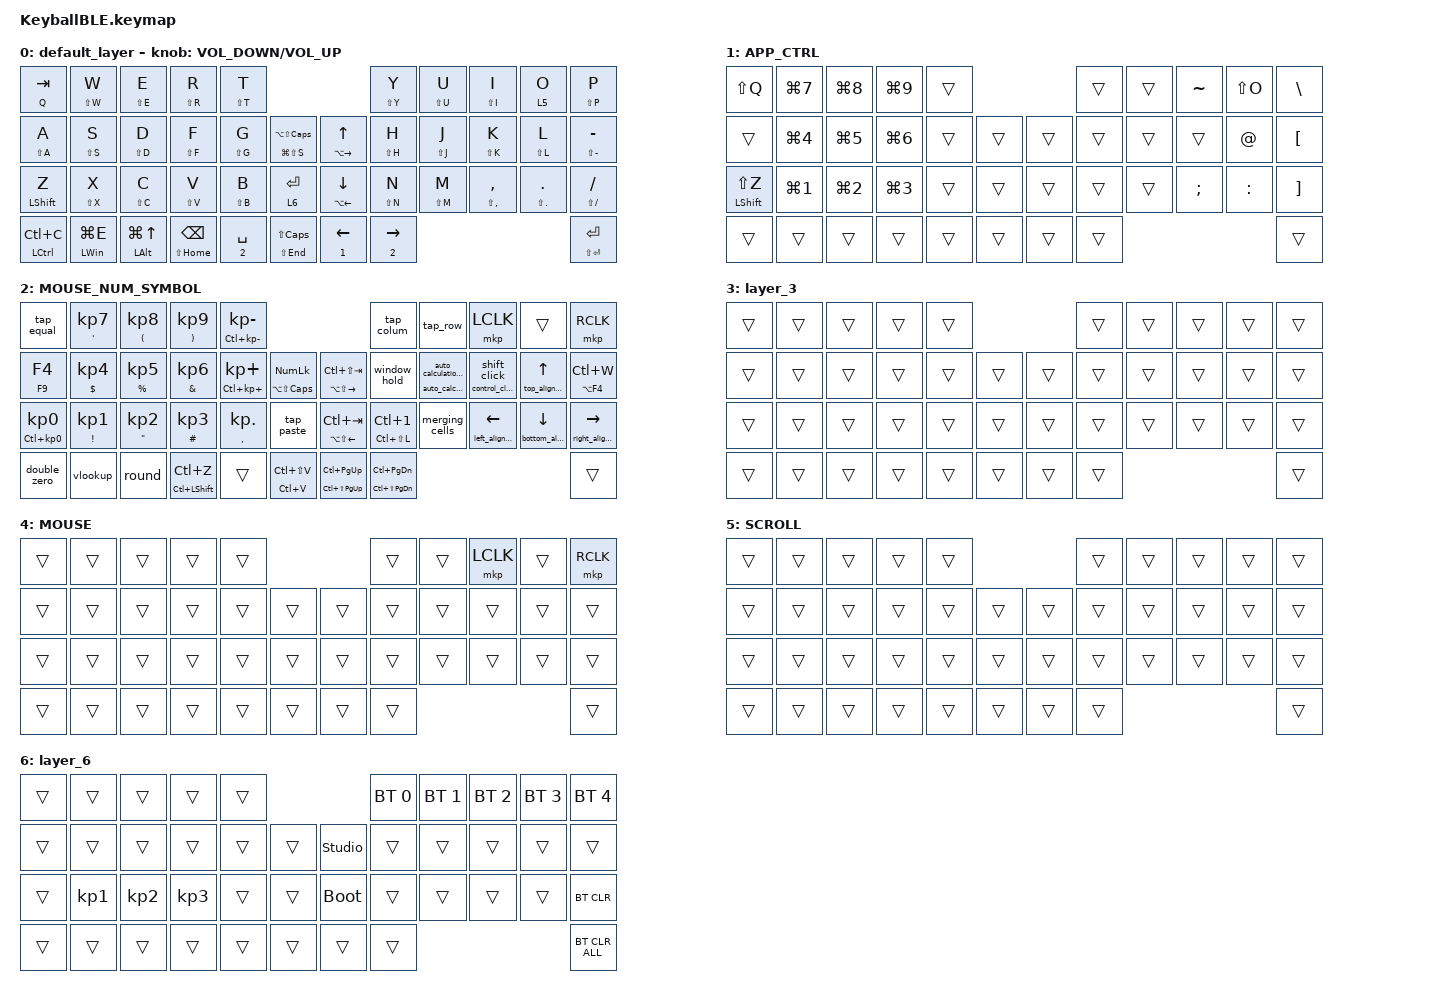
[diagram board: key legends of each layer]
#define ZMK_POINTING_DEFAULT_SCRL_VAL 120    // default: 10

#include <behaviors.dtsi>
#include <dt-bindings/zmk/bt.h>
#include <dt-bindings/zmk/keys.h>
#include <dt-bindings/zmk/pointing.h>

#define MOUSE 4
#define SCROLL 5
#define NUM 6

&mt {
    flavor = "balanced";
    quick-tap-ms = <0>;
};

/ {
    combos {
        compatible = "zmk,combos";

        backspace {
            bindings = <&mt_exit_AML_on_hold DELETE BACKSPACE>;
            key-positions = <8 9>;
            layers = <0 2 1>;
        };

        language {
            bindings = <&mt ESCAPE LS(CAPSLOCK)>;
            key-positions = <0 1>;
            layers = <0 2 1>;
        };

        f2 {
            bindings = <&kp F2>;
            key-positions = <1 2>;
            layers = <0>;
        };

        f7_f12 {
            bindings = <&mt F12 F7>;
            key-positions = <8 7>;
            layers = <0>;
        };

        center_alignment {
            bindings = <&center_alignment>;
            key-positions = <31 33>;
            layers = <2>;
        };

        vertical_alignment {
            bindings = <&vertical_center_alignment>;
            key-positions = <20 32>;
            layers = <2>;
        };

        num_slash {
            bindings = <&kp KP_SLASH>;
            key-positions = <1 2>;
            layers = <2>;
        };

        num_asterisk {
            bindings = <&kp KP_ASTERISK>;
            key-positions = <3 4>;
            layers = <2>;
        };

        num_remove {
            bindings = <&remove_duplicates>;
            key-positions = <2 3>;
            layers = <2>;
        };
    };

    macros {
        to_layer_0: to_layer_0 {
            compatible = "zmk,behavior-macro-one-param";
            #binding-cells = <1>;
            bindings = <&to 0 &macro_param_1to1 &kp MACRO_PLACEHOLDER>;
            label = "TO_LAYER_0";
        };

        exit_AML: exit_AML {
            compatible = "zmk,behavior-macro";
            wait-ms = <0>;
            tap-ms = <0>;
            #binding-cells = <0>;
            bindings = <&tog_off MOUSE>;
            label = "exit_AML";
        };

        kp_exit_AML: kp_exit_AML {
            compatible = "zmk,behavior-macro-one-param";
            wait-ms = <0>;
            tap-ms = <0>;
            #binding-cells = <1>;
            bindings = <&macro_param_1to1 &kp MACRO_PLACEHOLDER &exit_AML>;
            label = "KP_exit_AML";
        };

        mod_exit_AML: mod_exit_AML {
            compatible = "zmk,behavior-macro-one-param";
            wait-ms = <0>;
            tap-ms = <0>;
            #binding-cells = <1>;
            bindings =
                <&macro_press>,
                <&macro_param_1to1 &kp MACRO_PLACEHOLDER>,
                <&macro_tap>,
                <&exit_AML>,
                <&macro_pause_for_release>,
                <&macro_release>,
                <&macro_param_1to1 &kp MACRO_PLACEHOLDER>;

            label = "MOD_exit_AML";
        };

        mo_exit_AML: mo_exit_AML {
            compatible = "zmk,behavior-macro-one-param";
            wait-ms = <0>;
            tap-ms = <0>;
            #binding-cells = <1>;
            bindings =
                <&macro_press>,
                <&macro_param_1to1 &mo MACRO_PLACEHOLDER>,
                <&macro_tap>,
                <&exit_AML>,
                <&macro_pause_for_release>,
                <&macro_release>,
                <&macro_param_1to1 &mo MACRO_PLACEHOLDER>,
                <&macro_tap>;

            label = "MO_exit_AML";
        };

        shift_click: shift_crick {
            compatible = "zmk,behavior-macro";
            #binding-cells = <0>;
            bindings =
                <&macro_press>,
                <&kp LEFT_SHIFT>,
                <&macro_tap>,
                <&mkp LCLK>,
                <&macro_release>,
                <&kp LEFT_SHIFT>;

            label = "SHIFT_CRICK";
        };

        control_click: contolor_click {
            compatible = "zmk,behavior-macro";
            #binding-cells = <0>;
            bindings =
                <&macro_press>,
                <&kp LEFT_CONTROL &mkp LCLK>,
                <&macro_pause_for_release>,
                <&macro_release>,
                <&kp LEFT_CONTROL &mkp LCLK>;

            label = "CONTOLOR_CLICK";
        };

        remove_duplicates: choufuku {
            compatible = "zmk,behavior-macro";
            #binding-cells = <0>;
            bindings = <&kp LEFT_ALT &kp A &kp M>;
            label = "CHOUFUKU";
        };

        window_hold: window_hold {
            compatible = "zmk,behavior-macro";
            #binding-cells = <0>;
            bindings = <&kp LEFT_ALT &kp W &kp F &kp F>;
            label = "WINDOW_HOLD";
        };

        merging_cells: merging_cells {
            compatible = "zmk,behavior-macro";
            #binding-cells = <0>;
            bindings = <&kp LEFT_ALT &kp H &kp M &kp C>;
            label = "MERGING_CELLS";
        };

        left_alignment: left_alignment {
            compatible = "zmk,behavior-macro";
            #binding-cells = <0>;
            bindings = <&kp LEFT_ALT &kp H &kp A &kp L>;
            label = "LEFT_ALIGNMENT";
        };

        center_alignment: center_alignment {
            compatible = "zmk,behavior-macro";
            #binding-cells = <0>;
            bindings = <&kp LEFT_ALT &kp H &kp A &kp C>;
            label = "CENTER_ALIGNMENT";
        };

        right_alignment: right_alignment {
            compatible = "zmk,behavior-macro";
            #binding-cells = <0>;
            bindings = <&kp LEFT_ALT &kp H &kp A &kp R>;
            label = "RIGHT_ALIGNMENT";
        };

        top_alignment: top_alignment {
            compatible = "zmk,behavior-macro";
            #binding-cells = <0>;
            bindings = <&kp LEFT_ALT &kp H &kp A &kp T>;
            label = "TOP_ALIGNMENT";
        };

        vertical_center_alignment: vertical_center_alignment {
            compatible = "zmk,behavior-macro";
            #binding-cells = <0>;
            bindings = <&kp LEFT_ALT &kp H &kp A &kp M>;
            label = "VERTICAL_CENTER_ALIGNMENT";
        };

        bottom_alignment: bottom_alignment {
            compatible = "zmk,behavior-macro";
            #binding-cells = <0>;
            bindings = <&kp LEFT_ALT &kp H &kp A &kp B>;
            label = "BOTTOM_ALIGNMENT";
        };

        sum: sum {
            compatible = "zmk,behavior-macro";
            #binding-cells = <0>;
            bindings = <&kp LEFT_ALT &kp M &kp U &kp S>;
            label = "SUM";
        };

        sumproduct: sumproduct {
            compatible = "zmk,behavior-macro";
            #binding-cells = <0>;
            bindings = <&kp EQUAL &kp S &kp U &kp M &kp P &kp R &kp O &kp D &kp U &kp C &kp T &kp LEFT_PARENTHESIS>;
            label = "SUMPRODUCT";
        };

        vlookup: vlookup {
            compatible = "zmk,behavior-macro";
            #binding-cells = <0>;
            bindings = <&kp EQUAL &kp I &kp F &kp N &kp A &kp LEFT_PARENTHESIS &kp V &kp L &kp O &kp O &kp K &kp U &kp P &kp LEFT_PARENTHESIS>;
            label = "VLOOKUP";
        };

        round: round {
            compatible = "zmk,behavior-macro";
            #binding-cells = <0>;
            bindings = <&kp EQUAL &kp R &kp O &kp U &kp N &kp D &kp LEFT_PARENTHESIS &kp LEFT_PARENTHESIS>;
            label = "ROUND";
        };

        paste_formulas_only: paste_formulas_only {
            compatible = "zmk,behavior-macro";
            #binding-cells = <0>;
            bindings = <&kp LA(E) &kp S &kp F &kp ENTER>;
            label = "PASTE_FORMULAS_ONLY";
        };

        transpose_and_paste: transpose_and_paste {
            compatible = "zmk,behavior-macro";
            #binding-cells = <0>;
            bindings = <&kp LA(E) &kp S &kp E &kp V &kp ENTER>;
            label = "TRANSPOSE_AND_PASTE";
        };

        paste_memo_only: paste_memo_only {
            compatible = "zmk,behavior-macro";
            #binding-cells = <0>;
            bindings = <&kp LA(E) &kp S &kp C &kp ENTER>;
            label = "PASTE_MEMO_ONLY";
        };

        auto_calculation: auto_calculation {
            compatible = "zmk,behavior-macro";
            #binding-cells = <0>;
            bindings = <&kp LEFT_ALT &kp M &kp X &kp A>;
            label = "AUTO_CALCULATION";
        };

        auto_calculation_off: auto_calculation_off {
            compatible = "zmk,behavior-macro";
            #binding-cells = <0>;
            bindings = <&kp LEFT_ALT &kp M &kp X &kp M>;
            label = "AUTO_CALCULATION_OFF";
        };

        double_zero: double_zero {
            compatible = "zmk,behavior-macro";
            #binding-cells = <0>;
            bindings = <&kp KP_NUMBER_0 &kp KP_NUMBER_0>;
            label = "DOUBLE_ZERO";
        };

        row_plus: row_plus {
            compatible = "zmk,behavior-macro";
            #binding-cells = <0>;
            bindings = <&kp LS(SPACE) &kp LC(KP_PLUS)>;
            label = "ROW_PLUS";
        };

        row_minus: row_minus {
            compatible = "zmk,behavior-macro";
            #binding-cells = <0>;
            bindings = <&kp LS(SPACE) &kp LC(KP_MINUS)>;
            label = "ROW_MINUS";
        };

        colum_plus: colum_plus {
            compatible = "zmk,behavior-macro";
            #binding-cells = <0>;
            bindings = <&kp LC(SPACE) &kp LC(KP_PLUS)>;
            label = "COLUM_PLUS";
        };

        colum_minus: colum_minus {
            compatible = "zmk,behavior-macro";
            #binding-cells = <0>;
            bindings = <&kp LC(SPACE) &kp LC(KP_MINUS)>;
            label = "COLUM_MINUS";
        };

        row_copy: row_copy {
            compatible = "zmk,behavior-macro";
            #binding-cells = <0>;
            bindings = <&kp LS(SPACE) &kp LC(C)>;
            label = "ROW_COPY";
        };

        row_cut: row_cut {
            compatible = "zmk,behavior-macro";
            #binding-cells = <0>;
            bindings = <&kp LS(SPACE) &kp LC(X)>;
            label = "ROW_CUT";
        };

        colum_copy: colum_copy {
            compatible = "zmk,behavior-macro";
            #binding-cells = <0>;
            bindings = <&kp LC(SPACE) &kp LC(C)>;
            label = "COLUM_COPY";
        };

        colum_cut: colum_cut {
            compatible = "zmk,behavior-macro";
            #binding-cells = <0>;
            bindings = <&kp LC(SPACE) &kp LC(C)>;
            label = "COLUM_CUT";
        };
    };

    behaviors {
        lt_to_layer_0: lt_to_layer_0 {
            compatible = "zmk,behavior-hold-tap";
            label = "LAYER_TAP_TO_0";
            bindings = <&mo>, <&to_layer_0>;

            #binding-cells = <2>;
            tapping-term-ms = <200>;
        };

        ROTATE: ROTATE {
            compatible = "zmk,behavior-sensor-rotate-var";
            label = "ROTATE";
            #sensor-binding-cells = <2>;
            bindings = <&msc>, <&msc>;

            tap-ms = <20>;
        };

        sl_250: sl_250 {
            compatible = "zmk,behavior-sticky-key";
            label = "SL_250";
            bindings = <&mo>;
            #binding-cells = <1>;
            release-after-ms = <250>;
        };

        tog_off: toggle_layer_off {
            compatible = "zmk,behavior-toggle-layer";
            #binding-cells = <1>;
            display-name = "Toggle Layer Off";
            toggle-mode = "off";
        };

        lt_exit_AML_on_hold: lt_exit_AML_on_hold {
            compatible = "zmk,behavior-hold-tap";
            label = "LT_exit_AML_ON_HOLD";
            bindings = <&mo_exit_AML>, <&kp>;

            #binding-cells = <2>;
            tapping-term-ms = <200>;
            quick-tap-ms = <200>;
            flavor = "balanced";
        };

        mt_exit_AML_on_hold: mt_exit_AML_on_hold {
            compatible = "zmk,behavior-hold-tap";
            label = "MT_exit_AML_ON_HOLD";
            bindings = <&mod_exit_AML>, <&kp>;

            #binding-cells = <2>;
            tapping-term-ms = <200>;
            flavor = "balanced";
            quick-tap-ms = <200>;
        };

        ht_kp_left_align: ht_kp_left_align {
            compatible = "zmk,behavior-hold-tap";
            label = "HT_KP_LEFT_ALIGN";
            bindings = <&left_alignment>, <&kp>;

            #binding-cells = <2>;
            tapping-term-ms = <200>;
            quick-tap-ms = <200>;
            flavor = "balanced";
        };

        ht_kp_right_align: ht_kp_right_align {
            compatible = "zmk,behavior-hold-tap";
            label = "HT_KP_RIGHT_ALIGN";
            bindings = <&right_alignment>, <&kp>;

            #binding-cells = <2>;
            tapping-term-ms = <200>;
            quick-tap-ms = <200>;
            flavor = "balanced";
        };

        ht_kp_top_align: ht_kp_top_align {
            compatible = "zmk,behavior-hold-tap";
            label = "HT_KP_TOP_ALIGN";
            bindings = <&top_alignment>, <&kp>;

            #binding-cells = <2>;
            tapping-term-ms = <200>;
            quick-tap-ms = <200>;
            flavor = "balanced";
        };

        ht_kp_bottom_align: ht_kp_bottom_align {
            compatible = "zmk,behavior-hold-tap";
            label = "HT_KP_BOTTOM_ALIGN";
            bindings = <&bottom_alignment>, <&kp>;

            #binding-cells = <2>;
            tapping-term-ms = <200>;
            quick-tap-ms = <200>;
            flavor = "balanced";
        };

        ht_shiftclick_controlclick: ht_shiftclick_controlclick {
            compatible = "zmk,behavior-hold-tap";
            label = "HT_SHIFTCLICK_CONTROLCLICK";
            bindings = <&control_click>, <&shift_click>;

            #binding-cells = <2>;
            tapping-term-ms = <200>;
            quick-tap-ms = <200>;
            flavor = "balanced";
        };

        ht_calculation_on_off: ht_calculation_on_off {
            compatible = "zmk,behavior-hold-tap";
            label = "HT_CALCULATION_ON_OFF";
            bindings = <&auto_calculation>, <&auto_calculation_off>;

            #binding-cells = <2>;
            tapping-term-ms = <200>;
            quick-tap-ms = <200>;
            flavor = "balanced";
        };

        ht_row_copy_cut: ht_row_copy_cut {
            compatible = "zmk,behavior-hold-tap";
            label = "HT_ROW_COPY_CUT";
            bindings = <&row_cut>, <&row_copy>;

            #binding-cells = <2>;
            tapping-term-ms = <200>;
            quick-tap-ms = <200>;
            flavor = "balanced";
        };

        ht_colum_copy_cut: ht_colum_copy_cut {
            compatible = "zmk,behavior-hold-tap";
            label = "HT_COLUM_COPY_CUT";
            bindings = <&colum_cut>, <&colum_copy>;

            #binding-cells = <2>;
            tapping-term-ms = <200>;
            quick-tap-ms = <200>;
            flavor = "balanced";
        };

        ht_row_plus_minus: ht_row_plus_minus {
            compatible = "zmk,behavior-hold-tap";
            label = "HT_ROW_PLUS_MINUS";
            bindings = <&row_minus>, <&row_plus>;

            #binding-cells = <2>;
            tapping-term-ms = <200>;
            quick-tap-ms = <200>;
            flavor = "balanced";
        };

        ht_colum_plus_minus: ht_colum_plus_minus {
            compatible = "zmk,behavior-hold-tap";
            label = "HT_COLUM_PLUS_MINUS";
            bindings = <&colum_minus>, <&colum_plus>;

            #binding-cells = <2>;
            tapping-term-ms = <200>;
            quick-tap-ms = <200>;
            flavor = "balanced";
        };

        tap_row: tap_row {
            compatible = "zmk,behavior-tap-dance";
            label = "TAP_ROW";
            #binding-cells = <0>;
            bindings = <&ht_row_copy_cut 0 0>, <&ht_row_plus_minus 0 0>;

            tapping-term-ms = <250>;
        };

        tap_colum: tap_colum {
            compatible = "zmk,behavior-tap-dance";
            label = "TAP_COLUM";
            #binding-cells = <0>;
            bindings = <&ht_colum_copy_cut 0 0>, <&ht_colum_plus_minus 0 0>;

            tapping-term-ms = <250>;
        };

        tap_paste: tap_paste {
            compatible = "zmk,behavior-tap-dance";
            label = "TAP_PASTE";
            #binding-cells = <0>;
            bindings =
                <&paste_formulas_only>,
                <&transpose_and_paste>,
                <&paste_memo_only>;

            tapping-term-ms = <250>;
        };

        tap_equal: tap_equal {
            compatible = "zmk,behavior-tap-dance";
            label = "TAP_EQUAL";
            #binding-cells = <0>;
            bindings = <&kp EQUAL>, <&sum>, <&sumproduct>;

            tapping-term-ms = <250>;
        };
    };

    keymap {
        compatible = "zmk,keymap";

        default_layer {
            bindings = <
&mt Q TAB               &mt LS(W) W         &mt LS(E) E                &mt LS(R) R                              &mt LS(T) T                                                                                          &mt LS(Y) Y                         &mt LS(U) U  &mt LS(I) I          &lt 5 O             &mt LS(P) P
&mt LS(A) A             &mt LS(S) S         &mt LS(D) D                &mt LS(F) F                              &mt LS(G) G                   &mt LG(LS(S)) LA(LS(CAPSLOCK))      &mt LA(RIGHT_ARROW) UP_ARROW       &mt LS(H) H                         &mt LS(J) J  &mt LS(K) K          &mt LS(L) L         &mt LS(MINUS) MINUS
&mt LEFT_SHIFT Z        &mt LS(X) X         &mt LS(C) C                &mt LS(V) V                              &mt LS(B) B                   &lt 6 ENTER                         &mt LA(LEFT_ARROW) DOWN_ARROW      &mt LS(N) N                         &mt LS(M) M  &mt LS(COMMA) COMMA  &mt LS(DOT) PERIOD  &mt LS(SLASH) SLASH
&mt LEFT_CONTROL LC(C)  &mt LEFT_WIN LG(E)  &mt LEFT_ALT LG(UP_ARROW)  &mt_exit_AML_on_hold LS(HOME) BACKSPACE  &lt_exit_AML_on_hold 2 SPACE  &mt LS(END) LS(CAPSLOCK)            &lt_exit_AML_on_hold 1 LEFT_ARROW  &lt_exit_AML_on_hold 2 RIGHT_ARROW                                                        &mt LS(ENTER) ENTER
            >;

            sensor-bindings = <&inc_dec_kp C_VOLUME_DOWN C_VOLUME_UP>;
        };

        APP_CTRL {
            bindings = <
&kp LS(Q)             &kp LG(NUMBER_7)  &kp LG(NUMBER_8)  &kp LG(NUMBER_9)  &trans                      &trans  &trans  &kp TILDE      &kp LS(O)    &kp BACKSLASH
&trans                &kp LG(NUMBER_4)  &kp LG(NUMBER_5)  &kp LG(NUMBER_6)  &trans  &trans      &trans  &trans  &trans  &trans         &kp AT_SIGN  &kp LEFT_BRACKET
&mt LEFT_SHIFT LS(Z)  &kp LG(NUMBER_1)  &kp LG(NUMBER_2)  &kp LG(NUMBER_3)  &trans  &trans      &trans  &trans  &trans  &kp SEMICOLON  &kp COLON    &kp RIGHT_BRACKET
&trans                &trans            &trans            &trans            &trans  &trans      &trans  &trans                                      &trans
            >;
        };

        MOUSE_NUM_SYMBOL {
            bindings = <
&tap_equal                       &mt APOSTROPHE KP_NUMBER_7   &mt LEFT_PARENTHESIS KP_NUMBER_8  &mt RIGHT_PARENTHESIS KP_NUMBER_9  &mt LC(KP_MINUS) KP_MINUS                                                                        &tap_colum                           &tap_row                    &mkp LCLK                        &trans                            &mkp RCLK
&mt F9 F4                        &mt DOLLAR KP_NUMBER_4       &mt PERCENT KP_NUMBER_5           &mt AMPERSAND KP_NUMBER_6          &mt LC(KP_PLUS) KP_PLUS    &mt LA(LS(CAPSLOCK)) KP_NUMLOCK      &mt LA(LS(RIGHT)) LC(LS(TAB))    &window_hold                         &ht_calculation_on_off 0 0  &ht_shiftclick_controlclick 0 0  &ht_kp_top_align 0 UP_ARROW       &mt LA(F4) LC(W)
&mt LC(KP_NUMBER_0) KP_NUMBER_0  &mt EXCLAMATION KP_NUMBER_1  &mt DOUBLE_QUOTES KP_NUMBER_2     &mt POUND KP_NUMBER_3              &mt COMMA KP_DOT           &tap_paste                           &mt LA(LS(LEFT)) LC(TAB)         &mt LC(LS(L)) LC(NUMBER_1)           &merging_cells              &ht_kp_left_align 0 LEFT_ARROW   &ht_kp_bottom_align 0 DOWN_ARROW  &ht_kp_right_align 0 RIGHT_ARROW
&double_zero                     &vlookup                     &round                            &mt LC(LEFT_SHIFT) LC(Z)           &trans                     &mt LC(V) LC(LS(V))                  &mt LC(LS(PAGE_UP)) LC(PAGE_UP)  &mt LC(LS(PAGE_DOWN)) LC(PAGE_DOWN)                                                                                                 &trans
            >;
        };

        layer_3 {
            bindings = <
&trans  &trans  &trans  &trans  &trans                      &trans  &trans  &trans  &trans  &trans
&trans  &trans  &trans  &trans  &trans  &trans      &trans  &trans  &trans  &trans  &trans  &trans
&trans  &trans  &trans  &trans  &trans  &trans      &trans  &trans  &trans  &trans  &trans  &trans
&trans  &trans  &trans  &trans  &trans  &trans      &trans  &trans                          &trans
            >;
        };

        MOUSE {
            bindings = <
&trans  &trans  &trans  &trans  &trans                      &trans  &trans  &mkp LCLK  &trans  &mkp RCLK
&trans  &trans  &trans  &trans  &trans  &trans      &trans  &trans  &trans  &trans     &trans  &trans
&trans  &trans  &trans  &trans  &trans  &trans      &trans  &trans  &trans  &trans     &trans  &trans
&trans  &trans  &trans  &trans  &trans  &trans      &trans  &trans                             &trans
            >;
        };

        SCROLL {
            bindings = <
&trans  &trans  &trans  &trans  &trans                      &trans  &trans  &trans  &trans  &trans
&trans  &trans  &trans  &trans  &trans  &trans      &trans  &trans  &trans  &trans  &trans  &trans
&trans  &trans  &trans  &trans  &trans  &trans      &trans  &trans  &trans  &trans  &trans  &trans
&trans  &trans  &trans  &trans  &trans  &trans      &trans  &trans                          &trans
            >;
        };

        layer_6 {
            bindings = <
&trans  &trans           &trans           &trans           &trans                              &bt BT_SEL 0  &bt BT_SEL 1  &bt BT_SEL 2  &bt BT_SEL 3  &bt BT_SEL 4
&trans  &trans           &trans           &trans           &trans  &trans      &studio_unlock  &trans        &trans        &trans        &trans        &trans
&trans  &kp KP_NUMBER_1  &kp KP_NUMBER_2  &kp KP_NUMBER_3  &trans  &trans      &bootloader     &trans        &trans        &trans        &trans        &bt BT_CLR
&trans  &trans           &trans           &trans           &trans  &trans      &trans          &trans                                                  &bt BT_CLR_ALL
            >;
        };
    };
};
